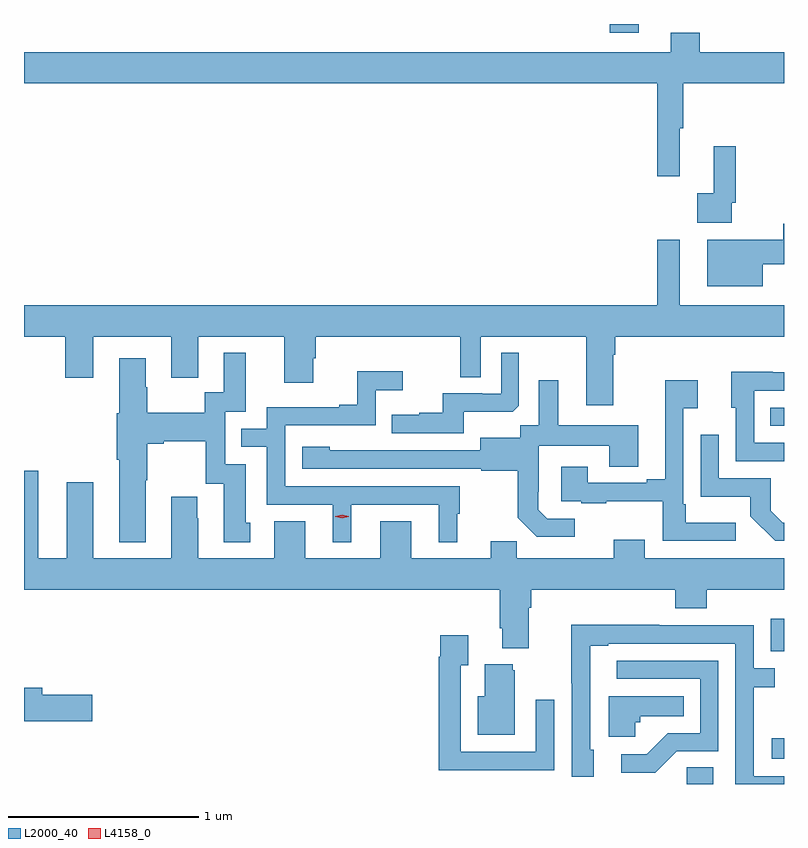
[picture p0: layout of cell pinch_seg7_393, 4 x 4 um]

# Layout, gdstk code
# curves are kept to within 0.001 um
import gdstk
lib = gdstk.Library(unit=1e-6, precision=1e-09)
def R(c, l, rs):  # rectangles x0, y0, x1, y1
    for r in rs: c.add(gdstk.rectangle(r[:2], r[2:], *l))
def P(c, l, *ps):  # polygons
    for p in ps: c.add(gdstk.Polygon(p, *l))
L2000_40 = (2000, 40)
L4158_0 = (4158, 0)

pinch_seg7_393 = lib.new_cell('pinch_seg7_393')
R(pinch_seg7_393, L2000_40, [(577.122,1016.909,577.261,1016.996), (577.569,1017.041,577.633,1017.151), (577.563,1017.609,577.633,1017.778), (577.561,1018.794,577.633,1018.89), (576.716,1020.864,576.868,1020.909)])
P(pinch_seg7_393, L2000_40, [(577.085,1020.36),(577.103,1020.36),(577.103,1020.596),(577.633,1020.596),(577.633,1020.76),(577.19,1020.76),(577.19,1020.862),(577.037,1020.862),(577.037,1020.76),(573.633,1020.76),(573.633,1020.596),(576.967,1020.596),(576.967,1020.108),(577.085,1020.108)],
  [(577.359,1019.968),(577.379,1019.968),(577.379,1020.265),(577.262,1020.265),(577.262,1020.017),(577.176,1020.017),(577.176,1019.864),(577.359,1019.864)],
  [(577.522,1019.645),(577.633,1019.645),(577.633,1019.858),(577.629,1019.858),(577.629,1019.773),(577.229,1019.773),(577.229,1019.528),(577.522,1019.528)],
  [(576.733,1019.168),(576.746,1019.168),(576.746,1019.264),(577.633,1019.264),(577.633,1019.428),(577.084,1019.428),(577.084,1019.773),(576.967,1019.773),(576.967,1019.428),(573.633,1019.428),(573.633,1019.264),(573.85,1019.264),(573.85,1019.046),(573.997,1019.046),(573.997,1019.264),(574.409,1019.264),(574.409,1019.046),(574.549,1019.046),(574.549,1019.264),(575.003,1019.264),(575.003,1019.022),(575.155,1019.022),(575.155,1019.151),(575.168,1019.151),(575.168,1019.264),(575.928,1019.264),(575.928,1019.05),(576.036,1019.05),(576.036,1019.264),(576.593,1019.264),(576.593,1018.902),(576.733,1018.902)],
  [(574.273,1018.507),(574.281,1018.507),(574.281,1018.7),(574.369,1018.7),(574.369,1018.712),(574.589,1018.712),(574.589,1018.488),(574.685,1018.488),(574.685,1018.182),(574.825,1018.182),(574.825,1018.284),(574.801,1018.284),(574.801,1018.593),(574.692,1018.593),(574.692,1018.869),(574.801,1018.869),(574.801,1019.179),(574.685,1019.179),(574.685,1018.97),(574.584,1018.97),(574.584,1018.864),(574.281,1018.864),(574.281,1018.998),(574.273,1018.998),(574.273,1019.149),(574.133,1019.149),(574.133,1018.86),(574.121,1018.86),(574.121,1018.616),(574.133,1018.616),(574.133,1018.181),(574.273,1018.181)],
  [(575.947,1018.868),(576.205,1018.868),(576.237,1018.899),(576.237,1019.179),(576.144,1019.179),(576.144,1018.962),(576.044,1018.962),(576.044,1018.965),(575.837,1018.965),(575.837,1018.864),(575.713,1018.864),(575.713,1018.852),(575.569,1018.852),(575.569,1018.755),(575.947,1018.755)],
  [(575.356,1018.38),(575.816,1018.38),(575.816,1018.181),(575.914,1018.181),(575.914,1018.332),(575.926,1018.332),(575.926,1018.476),(575.007,1018.476),(575.007,1018.797),(575.484,1018.797),(575.484,1018.982),(575.626,1018.982),(575.626,1019.081),(575.386,1019.081),(575.386,1018.906),(575.291,1018.906),(575.291,1018.893),(574.911,1018.893),(574.911,1018.779),(574.777,1018.779),(574.777,1018.683),(574.911,1018.683),(574.911,1018.38),(575.258,1018.38),(575.258,1018.181),(575.356,1018.181)],
  [(577.633,1018.704),(577.476,1018.704),(577.476,1018.98),(577.633,1018.98),(577.633,1019.076),(577.573,1019.076),(577.573,1019.078),(577.355,1019.078),(577.355,1018.89),(577.38,1018.89),(577.38,1018.608),(577.633,1018.608)],
  [(577.378,1018.285),(577.117,1018.285),(577.117,1018.381),(577.104,1018.381),(577.104,1018.886),(577.18,1018.886),(577.18,1019.035),(577.007,1019.035),(577.007,1018.513),(576.911,1018.513),(576.911,1018.494),(576.601,1018.494),(576.601,1018.579),(576.461,1018.579),(576.461,1018.398),(576.565,1018.398),(576.565,1018.386),(576.697,1018.386),(576.697,1018.397),(576.996,1018.397),(576.996,1018.188),(577.378,1018.188)],
  [(576.532,1018.305),(576.387,1018.305),(576.34,1018.352),(576.34,1018.447),(576.342,1018.447),(576.342,1018.688),(576.713,1018.688),(576.713,1018.579),(576.865,1018.579),(576.865,1018.798),(576.445,1018.798),(576.445,1019.035),(576.341,1019.035),(576.341,1018.796),(576.246,1018.796),(576.246,1018.732),(576.035,1018.732),(576.035,1018.665),(575.241,1018.666),(575.241,1018.684),(575.097,1018.684),(575.097,1018.569),(576.039,1018.569),(576.039,1018.557),(576.231,1018.557),(576.231,1018.311),(576.331,1018.211),(576.532,1018.211)],
  [(577.633,1018.284),(577.626,1018.284),(577.563,1018.347),(577.563,1018.518),(577.29,1018.518),(577.29,1018.747),(577.194,1018.747),(577.194,1018.421),(577.456,1018.421),(577.456,1018.319),(577.586,1018.188),(577.633,1018.188)],
  [(576.289,1017.836),(576.302,1017.836),(576.302,1017.932),(577.061,1017.932),(577.061,1017.833),(577.226,1017.833),(577.226,1017.932),(577.633,1017.932),(577.633,1018.096),(576.901,1018.096),(576.901,1018.195),(576.737,1018.195),(576.737,1018.096),(576.227,1018.096),(576.227,1018.187),(576.089,1018.187),(576.089,1018.096),(575.671,1018.096),(575.671,1018.291),(575.507,1018.291),(575.507,1018.096),(575.113,1018.096),(575.113,1018.291),(574.949,1018.291),(574.949,1018.096),(574.549,1018.096),(574.549,1018.307),(574.546,1018.307),(574.546,1018.42),(574.409,1018.42),(574.409,1018.096),(573.997,1018.096),(573.997,1018.498),(573.857,1018.498),(573.857,1018.096),(573.709,1018.096),(573.709,1018.558),(573.633,1018.558),(573.633,1017.932),(576.137,1017.932),(576.137,1017.73),(576.149,1017.73),(576.149,1017.623),(576.289,1017.623)],
  [(577.633,1016.949),(577.473,1016.949),(577.473,1017.418),(577.583,1017.418),(577.583,1017.519),(577.473,1017.519),(577.473,1017.744),(576.977,1017.744),(576.977,1017.746),(576.514,1017.746),(576.514,1017.439),(576.516,1017.439),(576.516,1016.946),(576.631,1016.946),(576.631,1017.09),(576.612,1017.09),(576.612,1017.636),(576.709,1017.636),(576.709,1017.648),(577.377,1017.648),(577.377,1016.909),(577.633,1016.909)],
  [(576.107,1016.982),(576.423,1016.982),(576.423,1017.352),(576.327,1017.352),(576.327,1017.078),(575.931,1017.078),(575.931,1017.535),(575.971,1017.535),(575.971,1017.691),(575.823,1017.691),(575.823,1017.578),(575.815,1017.578),(575.815,1016.981),(576.107,1016.981)],
  [(577.068,1017.081),(577.287,1017.081),(577.287,1017.558),(576.753,1017.558),(576.753,1017.462),(577.191,1017.462),(577.191,1017.177),(577.022,1017.177),(576.911,1017.066),(576.777,1017.066),(576.777,1016.969),(576.955,1016.969)],
  [(576.217,1017.507),(576.206,1017.507),(576.206,1017.538),(576.059,1017.538),(576.059,1017.37),(576.02,1017.37),(576.02,1017.167),(576.217,1017.167)],
  [(573.991,1017.38),(573.73,1017.38),(573.73,1017.416),(573.633,1017.416),(573.633,1017.238),(573.991,1017.238)],
  [(576.849,1017.234),(576.876,1017.234),(576.876,1017.266),(577.106,1017.266),(577.106,1017.37),(576.71,1017.37),(576.71,1017.158),(576.849,1017.158)])
P(pinch_seg7_393, L4158_0, [(575.307,1018.307),(575.271,1018.316),(575.271,1018.317),(575.271,1018.317),(575.307,1018.327),(575.342,1018.317),(575.342,1018.317),(575.342,1018.316)])

lib.write_gds('pinch_seg7_393.gds')
